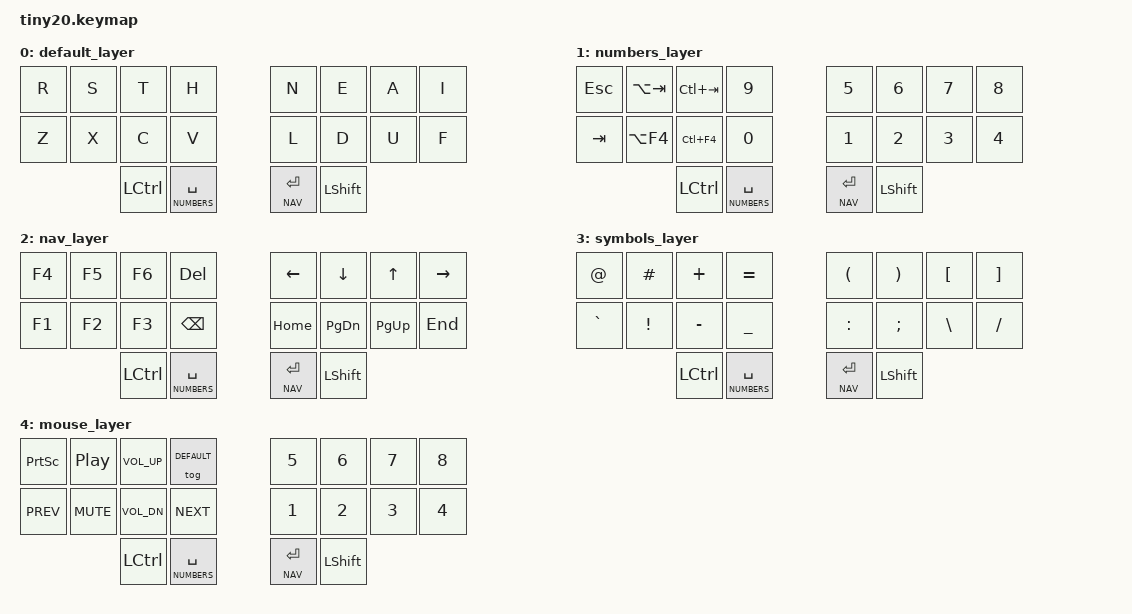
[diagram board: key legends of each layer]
/*
 * Copyright (c) 2022 The ZMK Contributors
 *
 * SPDX-License-Identifier: MIT
 */

#include <behaviors.dtsi>
#include <dt-bindings/zmk/keys.h>
#include <dt-bindings/zmk/bt.h>


#define DEFAULT 0
#define NUMBERS 1
#define NAV 2
#define SYMBOLS 3
#define MOUSE 4

/ {

    combos {
        compatible = "zmk,combos";
        combo_q {
            timeout-ms = <50>;
            key-positions = <0 1>;
			layers = <0>;
            bindings = <&kp Q>;
        };

        combo_w {
            timeout-ms = <50>;
            key-positions = <1 2>;
			layers = <0>;
            bindings = <&kp W>;
        };

        combo_b {
            timeout-ms = <50>;
            key-positions = <2 3>;
			layers = <0>;
            bindings = <&kp B>;
        };

        combo_y {
            timeout-ms = <50>;
            key-positions = <8 9>;
			layers = <0>;
            bindings = <&kp Y>;
        };

        combo_m {
            timeout-ms = <50>;
            key-positions = <9 10>;
			layers = <0>;
            bindings = <&kp M>;
        };

        combo_g {
            timeout-ms = <50>;
            key-positions = <10 11>;
			layers = <0>;
            bindings = <&kp G>;
        };

        combo_comma {
            timeout-ms = <50>;
            key-positions = <3 11>;
			layers = <0>;
            bindings = <&kp COMMA>;
        };

        combo_dot {
            timeout-ms = <50>;
            key-positions = <4 17>;
			layers = <0>;
            bindings = <&kp DOT>;
        };

        combo_p {
            timeout-ms = <50>;
            key-positions = <6 7>;
			layers = <0>;
            bindings = <&kp P>;
        };

        combo_apos {
            timeout-ms = <50>;
            key-positions = <5 6>;
			layers = <0>;
            bindings = <&kp APOS>;
        };

        combo_j {
            timeout-ms = <50>;
            key-positions = <4 5>;
			layers = <0>;
            bindings = <&kp J>;
        };

        combo_enne {
            timeout-ms = <50>;
            key-positions = <12 13>;
			layers = <0>;
            bindings = <&kp RA(N)>;
        };

        combo_o {
            timeout-ms = <50>;
            key-positions = <13 14>;
			layers = <0>;
            bindings = <&kp O>;
        };

        combo_k {
            timeout-ms = <50>;
            key-positions = <14 15>;
			layers = <0>;
            bindings = <&kp K>;
        };

        combo_mouse {
            timeout-ms = <50>;
            key-positions = <5 12>;
			layers = <0>;
            bindings = <&tog MOUSE>;
        };

        combo_symbols {
            timeout-ms = <50>;
            key-positions = <17 18>;
			layers = <0 1 2>;
            bindings = <&sl SYMBOLS>;
        };

        combo_f7 {
            timeout-ms = <50>;
            key-positions = <0 1>;
			layers = <2>;
            bindings = <&kp F7>;
        };

        combo_f8 {
            timeout-ms = <50>;
            key-positions = <1 2>;
			layers = <2>;
            bindings = <&kp F8>;
        };

        combo_f9 {
            timeout-ms = <50>;
            key-positions = <8 9>;
			layers = <2>;
            bindings = <&kp F9>;
        };

        combo_f10 {
            timeout-ms = <50>;
            key-positions = <9 10>;
			layers = <2>;
            bindings = <&kp F10>;
        };

        combo_f11 {
            timeout-ms = <50>;
            key-positions = <1 9>;
			layers = <2>;
            bindings = <&kp F11>;
        };

        combo_f12 {
            timeout-ms = <50>;
            key-positions = <2 10>;
			layers = <2>;
            bindings = <&kp F12>;
        };

};


	keymap {
		compatible = "zmk,keymap";

		// This is a sample keymap intended to be replaced with your ow
		default_layer {
			bindings = <
				&kp R     &kp S     &kp T     &kp H                 &kp N     &kp E     &kp A     &kp I    
				&kp Z     &kp X     &kp C     &kp V                 &kp L     &kp D     &kp U     &kp F
				                    &kp LCTRL &lt NUMBERS SPACE     &lt NAV ENTER &kp LSHFT
			>;
		};

		numbers_layer {
			bindings = <
				&kp ESC   &kp LA(TAB)     &kp LC(TAB)     &kp N9                &kp N5     &kp N6     &kp N7     &kp N8    
				&kp TAB   &kp LA(F4)      &kp LC(F4)       &kp N0                &kp N1     &kp N2     &kp N3     &kp N4
				                              &kp LCTRL &lt NUMBERS SPACE                &lt NAV ENTER &kp LSHFT
			>;
		};

		nav_layer {
			bindings = <
				&kp F4    &kp F5    &kp F6    &kp DEL               &kp LEFT     &kp DOWN     &kp UP     &kp RIGHT    
				&kp F1    &kp F2    &kp F3    &kp BSPC              &kp HOME     &kp PG_DN    &kp PG_UP  &kp END
				                    &kp LCTRL &lt NUMBERS SPACE     &lt NAV ENTER &kp LSHFT
			>;
		};

		symbols_layer {
			bindings = <
				&kp AT    &kp HASH  &kp PLUS  &kp EQUAL             &kp LPAR  &kp RPAR  &kp LBKT  &kp RBKT    
				&kp GRAVE &kp EXCL  &kp MINUS &kp UNDER             &kp COLON &kp SEMI  &kp BSLH  &kp FSLH
				                    &kp LCTRL &lt NUMBERS SPACE     &lt NAV ENTER &kp LSHFT
			>;
		};

		mouse_layer {
			bindings = <
				&kp PSCRN  &kp C_PP    &kp C_VOL_UP  &tog DEFAULT    &kp 5     &kp 6     &kp 7     &kp 8    
				&kp C_PREV &kp C_MUTE  &kp C_VOL_DN  &kp C_NEXT      &kp 1     &kp 2     &kp 3     &kp 4
				                    &kp LCTRL &lt NUMBERS SPACE      &lt NAV ENTER &kp LSHFT
			>;
		};

	};
};
